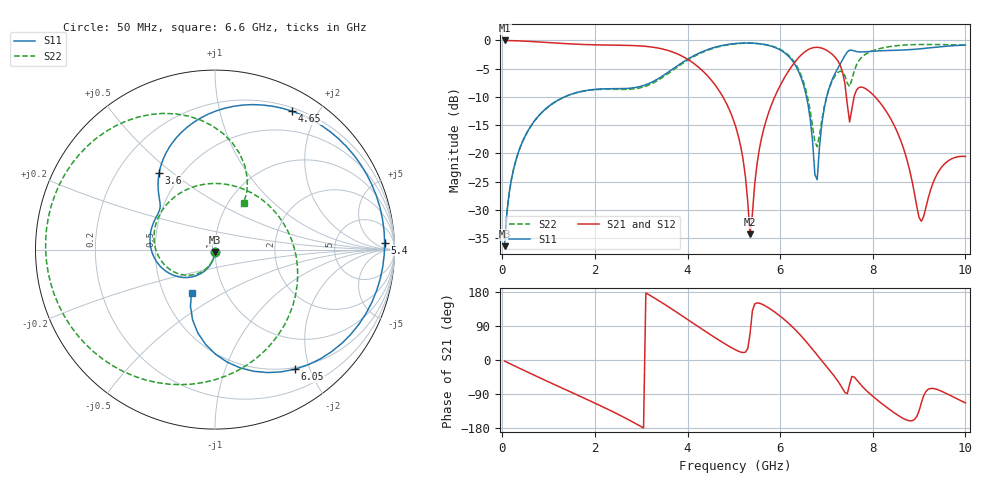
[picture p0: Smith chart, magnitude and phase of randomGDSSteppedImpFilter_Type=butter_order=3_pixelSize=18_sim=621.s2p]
! freq	dB(S11)	phase(S11)	dB(S12)	phase(S12)
!  dB(S21)	phase(S21)	dB(S22)	phase(S22)
!S-par simulation data
#  GHz  S  DB  R 50
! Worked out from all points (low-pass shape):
!   200 points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, 50 MHz to 10 GHz, reference 50 ohm
!   highest |S21| = 0.00 dB at 50 MHz (marker M1); lowest = -34.3 dB at 5.35 GHz (marker M2)
!   |S21| within 3 dB of the highest: start of sweep to 3.934 GHz; 6.403 GHz to 7.189 GHz (785.6 MHz wide, 11.6 % of centre)
!   lowest |S11| = -36.4 dB at 50 MHz (marker M3), VSWR 1.03, Z = 49.9 - j1.51 ohm
!   |S11| at or under -10 dB: start of sweep to 1.34 GHz; 6.568 GHz to 7.005 GHz (436.7 MHz wide, 6.43 % of centre)
!   |S22| runs from -36.4 to -0.5 dB; largest |S21 - S12| = 0
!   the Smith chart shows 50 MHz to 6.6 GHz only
!   S11 on the Smith chart (normalised r, x): 50 MHz: 1.00, -0.03; 3.6 GHz: 0.38, +0.45; 4.65 GHz: 0.24, +1.68; 5.4 GHz: 23, +17; 6.05 GHz: 0.48, -1.77; 6.6 GHz: 0.69, -0.36
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0.05  -36.39 -92.9  -0.00 -3.0  -0.00 -3.0  -36.39 -93.1
0.5  -16.81 -118.4  -0.13 -29.3  -0.13 -29.3  -16.82 -121.1
1.75  -8.95 178.9  -0.72 -99.6  -0.72 -99.6  -8.98 160.7
2.7  -8.49 146.6  -0.88 -155.9  -0.88 -155.9  -8.66 80.5
3.4  -6.60 132.6  -1.41 154.9  -1.41 154.9  -6.86 -4.9
3.6  -5.51 125.9  -1.83 139.4  -1.83 139.4  -5.75 -29.6
4.65  -1.08 60.8  -8.50 54.6  -8.50 54.6  -1.17 -135.7
5.05  -0.54 30.2  -15.54 26.0  -15.54 26.0  -0.59 -168.1
5.35  -0.47 6.4  -34.28 68.9  -34.28 68.9  -0.49 168.7
5.4  -0.48 2.4  -30.72 129.7  -30.72 129.7  -0.50 164.9
6.05  -1.92 -56.3  -7.22 110.9  -7.22 110.9  -1.80 110.9
6.6  -11.26 -118.5  -1.65 42.9  -1.65 42.9  -10.32 58.2
6.7  -17.81 -121.1  -1.31 28.1  -1.31 28.1  -15.15 62.2
6.8  -24.65 -34.7  -1.22 13.1  -1.22 13.1  -18.80 106.1
7.3  -4.11 -45.3  -4.46 -65.7  -4.46 -65.7  -5.44 76.7
7.45  -2.03 -65.5  -11.34 -88.7  -11.34 -88.7  -7.59 -16.1
7.55  -1.73 -82.7  -12.05 -43.4  -12.05 -43.4  -6.89 -125.4
7.85  -2.00 -115.8  -8.55 -79.3  -8.55 -79.3  -2.41 130.3
8.35  -1.78 -174.4  -13.34 -129.3  -13.34 -129.3  -1.11 78.6
9.05  -1.46 86.6  -31.99 -112.8  -31.99 -112.8  -0.72 29.0
9.5  -1.08 30.4  -22.28 -83.2  -22.28 -83.2  -0.74 1.0
10  -0.82 -16.0  -20.53 -113.1  -20.53 -113.1  -0.83 -28.4
